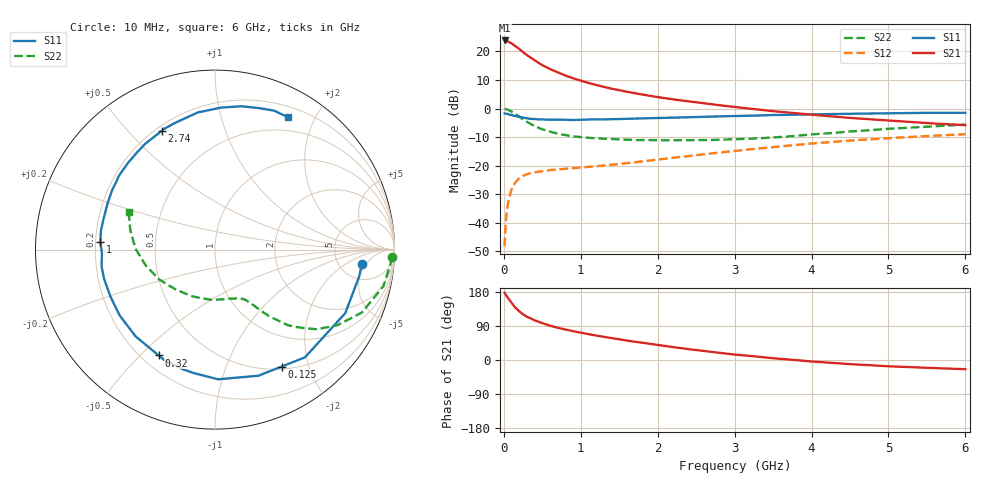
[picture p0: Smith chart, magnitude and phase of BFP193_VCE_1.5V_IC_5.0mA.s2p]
! Infineon Technologies  Discrete & RF Semiconductors
! BFP193
! VCE = 1.5 V,  IC =  5.0 mA
! Common Emitter S-Parameters:  Jan 2016
# GHz  S  MA  R  50
!  f  S11  S21  S12  S22
! GHz  MAG  ANG  MAG  ANG  MAG  ANG  MAG  ANG
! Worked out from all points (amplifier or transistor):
!   210 points, 10 MHz to 6 GHz, reference 50 ohm
!   highest |S21| = 23.8 dB at 10 MHz (marker M1)
!   |S21| within 3 dB of that: start of sweep to 202 MHz
!   unconditionally stable (mu >= 1): 1.228 GHz to 3.741 GHz
!   at 185 MHz: K = 0.21, MSG = 23.0 dB, |S12| = -24.8 dB
!   at 1.52 GHz: K = 1.09, MAG = 11.0 dB, |S12| = -19.3 dB
!   at 6 GHz: K = 0.94, MSG = 1.6 dB, |S12| = -9.0 dB
!   S11 on the Smith chart (normalised r, x): 10 MHz: 8.27, -4.03; 125 MHz: 0.53, -1.59; 320 MHz: 0.27, -0.57; 1 GHz: 0.22, +0.03; 2.74 GHz: 0.22, +0.63; 6 GHz: 0.32, +1.64
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0.01  0.8223 -5.5  15.54 177.8  0.0039 88.7  0.9876 -2.5
0.02  0.8171 -10.6  15.29 173.3  0.0079 84.5  0.9807 -4.9
0.05  0.8075 -26.0  15 164.4  0.0205 76.9  0.9601 -12.3
0.1  0.7819 -50.1  13.89 150.5  0.0381 65.8  0.8902 -23.2
0.125  0.7499 -60.3  13.06 144.5  0.0444 60.0  0.8436 -27.2
0.15  0.7432 -71.0  12.4 137.8  0.0511 55.7  0.8016 -31.7
0.2  0.7229 -88.6  11.06 128.5  0.0601 49.1  0.7191 -38.1
0.26  0.69 -105.1  9.453 119.2  0.0672 42.9  0.6313 -43.2
0.32  0.6678 -118.0  8.263 112.5  0.0722 39.1  0.5664 -46.7
0.4  0.6554 -132.4  6.963 104.6  0.0766 35.3  0.4909 -50.3
0.5  0.6455 -145.4  5.729 96.9  0.0802 32.5  0.4321 -52.9
0.6  0.6386 -155.7  4.907 90.5  0.0836 31.2  0.3928 -54.5
0.8  0.6388 -171.7  3.783 80.4  0.0882 30.6  0.3424 -57.5
1  0.6399 176.1  3.066 72.0  0.0927 31.7  0.3158 -60.5
1.02  0.6403 175.0  3.013 71.3  0.0932 31.9  0.3141 -60.9
1.4  0.6507 157.6  2.223 57.8  0.1034 34.6  0.2939 -68.4
2.02  0.6843 135.2  1.571 39.1  0.1288 38.9  0.2788 -84.3
2.74  0.7251 114.1  1.168 20.5  0.1659 39.3  0.2825 -107.7
3.1  0.7435 105.7  1.029 12.6  0.1871 37.9  0.2922 -120.6
4.1  0.7945 86.0  0.759 -5.3  0.25 30.4  0.3595 -155.3
5.1  0.8278 71.7  0.604 -17.4  0.3084 19.6  0.4491 176.8
6  0.8417 61.3  0.512 -24.1  0.3556 9.0  0.5245 156.5
